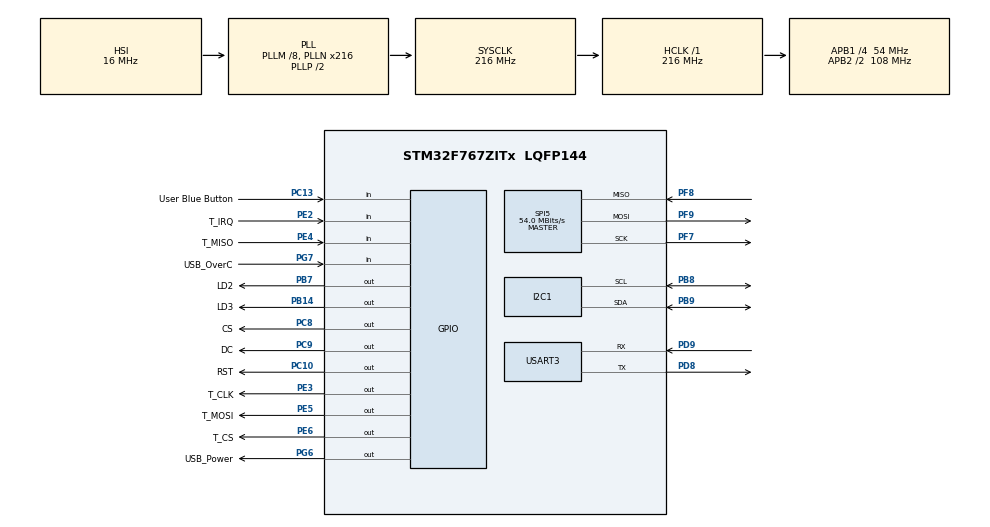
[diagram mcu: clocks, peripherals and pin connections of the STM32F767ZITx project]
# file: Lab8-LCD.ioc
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CORTEX_M7.ART_ACCELERATOR_ENABLE=1
CORTEX_M7.CPU_DCache=Enabled
CORTEX_M7.CPU_ICache=Enabled
CORTEX_M7.MPU_Control=__NULL
CORTEX_M7.PREFETCH_ENABLE=1
CORTEX_M7.default_mode_Activation=1
I2C1.Timing=0x20404768
Mcu.Family=STM32F7
Mcu.Name=STM32F767ZITx
Mcu.Package=LQFP144
NVIC.PriorityGroup=NVIC_PRIORITYGROUP_4
PB14.GPIO_Label=LD3
PB14.Signal=GPIO_Output
PB7.GPIO_Label=LD2
PB7.Signal=GPIO_Output
PB8.GPIO_Pu=GPIO_PULLUP
PB8.Mode=I2C
PB8.Signal=I2C1_SCL
PB9.GPIO_Pu=GPIO_PULLUP
PB9.Mode=I2C
PB9.Signal=I2C1_SDA
PC10.GPIO_Label=RST
PC10.GPIO_Speed=GPIO_SPEED_FREQ_VERY_HIGH
PC10.Signal=GPIO_Output
PC13.GPIO_Label=User Blue Button
PC13.Signal=GPIO_Input
PC8.GPIO_Label=CS
PC8.GPIO_Speed=GPIO_SPEED_FREQ_VERY_HIGH
PC8.Signal=GPIO_Output
PC9.GPIO_Label=DC
PC9.GPIO_Speed=GPIO_SPEED_FREQ_VERY_HIGH
PC9.Signal=GPIO_Output
PD8.Mode=Asynchronous
PD8.Signal=USART3_TX
PD9.Mode=Asynchronous
PD9.Signal=USART3_RX
PE2.GPIO_Label=T_IRQ
PE2.Signal=GPIO_Input
PE3.GPIO_Label=T_CLK
PE3.GPIO_Speed=GPIO_SPEED_FREQ_VERY_HIGH
PE3.Signal=GPIO_Output
PE4.GPIO_Label=T_MISO
PE4.Signal=GPIO_Input
PE5.GPIO_Label=T_MOSI
PE5.GPIO_Speed=GPIO_SPEED_FREQ_VERY_HIGH
PE5.Signal=GPIO_Output
PE6.GPIO_Label=T_CS
PE6.GPIO_Speed=GPIO_SPEED_FREQ_VERY_HIGH
PE6.Signal=GPIO_Output
PF7.Mode=Full_Duplex_Master
PF7.Signal=SPI5_SCK
PF8.Mode=Full_Duplex_Master
PF8.Signal=SPI5_MISO
PF9.Mode=Full_Duplex_Master
PF9.Signal=SPI5_MOSI
PG6.GPIO_Label=USB_Power
PG6.Signal=GPIO_Output
PG7.GPIO_Label=USB_OverC
PG7.Signal=GPIO_Input
PH0/OSC_IN.Mode=HSE-External-Oscillator
PH0/OSC_IN.Signal=RCC_OSC_IN
PH1/OSC_OUT.Mode=HSE-External-Oscillator
PH1/OSC_OUT.Signal=RCC_OSC_OUT
ProjectManager.HeapSize=0x200
ProjectManager.StackSize=0x400
ProjectManager.TargetToolchain=STM32CubeIDE
RCC.AHBFreq_Value=216000000
RCC.APB1CLKDivider=RCC_HCLK_DIV4
RCC.APB1Freq_Value=54000000
RCC.APB1TimFreq_Value=108000000
RCC.APB2CLKDivider=RCC_HCLK_DIV2
RCC.APB2Freq_Value=108000000
RCC.APB2TimFreq_Value=216000000
RCC.CortexFreq_Value=216000000
RCC.HCLKFreq_Value=216000000
RCC.HSE_VALUE=25000000
RCC.HSI_VALUE=16000000
RCC.LSE_VALUE=32768
RCC.PLLM=8
RCC.PLLN=216
RCC.PLLQ=9
RCC.SYSCLKFreq_VALUE=216000000
RCC.SYSCLKSource=RCC_SYSCLKSOURCE_PLLCLK
RCC.USBFreq_Value=48000000
RCC.VCOOutputFreq_Value=432000000
SPI5.BaudRatePrescaler=SPI_BAUDRATEPRESCALER_2
SPI5.CalculateBaudRate=54.0 MBits/s
SPI5.DataSize=SPI_DATASIZE_8BIT
SPI5.Direction=SPI_DIRECTION_2LINES
SPI5.Mode=SPI_MODE_MASTER
SPI5.NSSPMode=SPI_NSS_PULSE_DISABLE
SPI5.VirtualType=VM_MASTER
TIM1.ClockDivision=TIM_CLOCKDIVISION_DIV2
TIM1.Period=0
TIM1.Prescaler=10000
USART3.VirtualMode-Asynchronous=VM_ASYNC
VP_RNG_VS_RNG.Mode=RNG_Activate
VP_TIM1_VS_ClockSourceINT.Mode=Internal
board=custom

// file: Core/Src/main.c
/* USER CODE BEGIN Header */
/**
  ******************************************************************************
  * @file           : main.c
  * @brief          : Main program body
  ******************************************************************************
  * @attention
  *
  * Copyright (c) 2026 STMicroelectronics.
  * All rights reserved.
  *
  * This software is licensed under terms that can be found in the LICENSE file
  * in the root directory of this software component.
  * If no LICENSE file comes with this software, it is provided AS-IS.
  *
  ******************************************************************************
  */
/* USER CODE END Header */
#include "main.h"
#include "i2c.h"
#include "rng.h"
#include "spi.h"
#include "tim.h"
#include "usart.h"
#include "gpio.h"

/* USER CODE BEGIN Includes */
#include "string.h"
#include "stdio.h"
#include "ILI9341_Touchscreen.h"

#include "ILI9341_STM32_Driver.h"
#include "ILI9341_GFX.h"

#include "snow_tiger.h"
#include "stdpic.h"

/* USER CODE END Includes */

/* USER CODE BEGIN PV */
float h=30,t=40.0;
uint8_t step=0;
HAL_StatusTypeDef status;
/* USER CODE END PV */

void SystemClock_Config(void);
/* USER CODE BEGIN PFP */
/* USER CODE BEGIN 4 */
//uint16_t CRC16_2(uint8_t*, uint8_t);
/* USER CODE BEGIN 4 */
uint16_t CRC16_2(uint8_t *ptr, uint8_t length);

/* USER CODE END 4 */

/* USER CODE END PFP */

/* USER CODE BEGIN 0 */
// ประกาศตัวแปร
uint8_t AM2320_ADDR = 0x5C << 1; // 0xB8
uint8_t cmdBuffer[3];
uint8_t cmdBuffer[3] = {0x03, 0x00, 0x04};
char str[50];
uint8_t dataBuffer[8];
char ctemper[10];
char chumid[10];
 // คำสั่งอ่าน, รีจิสเตอร์เริ่มต้น, จำนวนไบต์
uint8_t rxBuffer[8];
float temperature = 0.0;
float humidity = 0.0;
int flag = 0,flag2 = 0;
uint8_t red_bar = 0,green_bar = 0,blue_bar = 0;
int flagDisplay = 1;
uint32_t now;
uint32_t check;
// ฟังก์ชันสำหรับอ่านค่า
uint8_t r=0,g=0,b=0;
uint16_t RGB565_CONVERT(uint8_t R, uint8_t G, uint8_t B)
{
    // การแปลงค่า:
    // 1. ลดทอนค่า 8-bit (0-255) ให้เหลือตามจำนวนบิตของแต่ละสี (5 หรือ 6 bit)
    //    โดยการ shift right (R>>3, G>>2, B>>3)
    // 2. เลื่อนบิตที่แปลงแล้วไปอยู่ในตำแหน่งที่ถูกต้องในข้อมูล 16-bit
    //    (Red อยู่ซ้ายสุด, Green อยู่กลาง, Blue อยู่ขวาสุด)
    // 3. นำค่ามารวมกันด้วย Bitwise OR (|)

    return ((R >> 3) << 11) | ((G >> 2) << 5) | (B >> 3);
}
/* USER CODE END 0 */

int main(void)
{

  /* Enable the CPU Cache */

  /* Enable I-Cache---------------------------------------------------------*/
  SCB_EnableICache();

  /* Enable D-Cache---------------------------------------------------------*/
  SCB_EnableDCache();

  /* MCU Configuration--------------------------------------------------------*/

  /* Reset of all peripherals, Initializes the Flash interface and the Systick. */
  HAL_Init();

  /* Configure the system clock */
  SystemClock_Config();

  /* Initialize all configured peripherals */
  MX_GPIO_Init();
  MX_I2C1_Init();
  MX_USART3_UART_Init();
  MX_RNG_Init();
  MX_SPI5_Init();
  MX_TIM1_Init();
  /* USER CODE BEGIN 2 */
  char charbuf[100];

  char uart_buf[50];
    sprintf(uart_buf, "\r\n--- Starting I2C Scan ---\r\n");
    HAL_UART_Transmit(&huart3, (uint8_t *)uart_buf, strlen(uart_buf), 100);

    // วนลูปเช็ค Address ตั้งแต่ 1 ถึง 127
    for (uint8_t i = 1; i < 128; i++)
    {
        // HAL ต้องการ Address แบบ 8 บิต จึงต้องเอา 7 บิตมา Shift left 1 ตำแหน่ง (i << 1)
        HAL_StatusTypeDef result = HAL_I2C_IsDeviceReady(&hi2c1, (uint16_t)(i << 1), 3, 100);

        if (result == HAL_OK) // ถ้าเซนเซอร์ตอบกลับมา
        {
            sprintf(uart_buf, "Found I2C device at Address: 0x%02X\r\n", i);
            HAL_UART_Transmit(&huart3, (uint8_t *)uart_buf, strlen(uart_buf), 100);
        }
    }

    sprintf(uart_buf, "--- Scan Complete ---\r\n\r\n");
    HAL_UART_Transmit(&huart3, (uint8_t *)uart_buf, strlen(uart_buf), 100);

    cmdBuffer[0] = 0x03;
    cmdBuffer[1] = 0x00;
    cmdBuffer[2] = 0x04;
    void Read_AM2320(void) {
        // 1. ส่งสัญญาณปลุกเซนเซอร์ (ฟังก์ชันนี้อาจรีเทิร์น HAL_ERROR ซึ่งถือว่าปกติในขั้นตอนนี้)
        HAL_I2C_Master_Transmit(&hi2c1, AM2320_ADDR, NULL, 0, 100);
        HAL_Delay(1); // รอเซนเซอร์ตื่น

        // 2. ส่งคำสั่งขออ่านข้อมูล
        if (HAL_I2C_Master_Transmit(&hi2c1, AM2320_ADDR, cmdBuffer, 3, 100) == HAL_OK) {

            HAL_Delay(2); // รอเซนเซอร์ประมวลผลตามสเปค
            flag++;
            // 3. อ่านข้อมูลกลับมา 8 ไบต์
            if (HAL_I2C_Master_Receive(&hi2c1, AM2320_ADDR, rxBuffer, 8, 100) == HAL_OK) {
            	flag2++;
                // ข้อมูลความชื้นอยู่ไบต์ที่ 2 และ 3
                uint16_t raw_humidity = (rxBuffer[2] << 8) | rxBuffer[3];
                humidity = raw_humidity / 10.0f;

                // ข้อมูลอุณหภูมิอยู่ไบต์ที่ 4 และ 5
                uint16_t raw_temp = (rxBuffer[4] << 8) | rxBuffer[5];

                // เช็คบิตเครื่องหมาย (กรณีติดลบ)
                if (raw_temp & 0x8000) {
                    temperature = -(raw_temp & 0x7FFF) / 10.0f;
                } else {
                    temperature = raw_temp / 10.0f;
                }
            }
        }
    }

    ILI9341_Init();
    char rbar[10],gbar[10],bbar[10];
    // ฟังก์ชันวาดรูปภาพแบบกำหนดพิกัดและขนาด
    void ILI9341_Draw_Custom_Image(uint16_t X, uint16_t Y, uint16_t Width, uint16_t Height, const char* Image_Array) {
        // 1. ตรวจสอบไม่ให้ขนาดเกินขอบจอ
        if((X >= 320) || (Y >= 240)) return;
        if((X + Width - 1) >= 320) Width = 320 - X;
        if((Y + Height - 1) >= 240) Height = 240 - Y;

        // 2. ล็อกขอบเขตหน้าต่างบนหน้าจอที่จะพ่นสีลงไป
        ILI9341_Set_Address(X, Y, X + Width - 1, Y + Height - 1);

        // 3. พ่นข้อมูลสีจาก Array เข้าจอผ่าน SPI ทีละไบต์
        uint32_t total_bytes = (uint32_t)Width * Height * 2;
        for(uint32_t i = 0; i < total_bytes; i++) {
            ILI9341_Write_Data((uint8_t)Image_Array[i]);
        }
    }
    void clear_display(){
        	ILI9341_Fill_Screen(WHITE);
        }
    void display1(){
    					int Width = 121;
    					Read_AM2320();
    	    			sprintf(ctemper,"%.1f C",temperature);
    	    			sprintf(chumid,"%.1f %%RH",humidity);
    	    			ILI9341_Set_Rotation(SCREEN_HORIZONTAL_2);
    	    			ILI9341_Draw_Text(ctemper, 20, 20, BLACK, 2, WHITE);
    	    			ILI9341_Draw_Text(chumid, 170, 20, BLACK, 2, WHITE);

    	    			ILI9341_Draw_Filled_Circle(130, 30, 25, RGB565_CONVERT(r*25,g*25,b*25));

    	    			ILI9341_Draw_Filled_Circle(30, 81, 20, RED);
    	    			ILI9341_Draw_Filled_Circle(30, 141, 20, GREEN);
    	    			ILI9341_Draw_Filled_Circle(30, 201, 20, BLUE);

    	    			ILI9341_Draw_Rectangle(60, 60, Width, 35, RGB565_CONVERT(255, 200, 200));
    	    			ILI9341_Draw_Rectangle(60, 120, Width, 35, RGB565_CONVERT(200, 255, 200));
    	    			ILI9341_Draw_Rectangle(60, 180, Width, 35, RGB565_CONVERT(200, 200, 255));

    	    			ILI9341_Draw_Rectangle(60, 60, (r%11)*12, 35, RED);
    	    			ILI9341_Draw_Rectangle(60, 120, (g%11)*12, 35, GREEN);
    	    			ILI9341_Draw_Rectangle(60, 180, (b%11)*12, 35, BLUE);

    	    			sprintf(rbar,"%d%%",(r%11)*10);
    	    			ILI9341_Draw_Text(rbar, 190, 70, BLACK, 3, WHITE);

    	    			sprintf(gbar,"%d%%",(g%11)*10);
    	    			ILI9341_Draw_Text(gbar, 190, 130, BLACK, 3, WHITE);

    	    			sprintf(bbar,"%d%%",(b%11)*10);
    	    			ILI9341_Draw_Text(bbar, 190, 190, BLACK, 3, WHITE);

    	    			if(TP_Touchpad_Pressed())
    	    			        {
    	    			            uint16_t pos[2];

    	    			            // 2. อ่านพิกัดที่กด
    	    			            if(TP_Read_Coordinates(pos) == TOUCHPAD_DATA_OK)
    	    			            {
    	    			                uint16_t x = pos[0];
    	    			                uint16_t y = 319-pos[1];
    	//    			                char coor[10];
    	//    			                sprintf(coor,"x = %d,y=%d",x,y);
    	//    			                ILI9341_Draw_Text(coor,y, x, BLACK,1,WHITE);
    	    			                // เอา X, Y ไปใช้แสดงหรือวาดของได้
    	    			                // เช่น วาดจุดตามนิ้ว
    	    			                if(y>10 && y< 50&& x>61 && x<101){
    	    			                	r++;
    	    			                	r%=11;
    	    			                	if(r==0)ILI9341_Fill_Screen(WHITE);

    	    			                }
    	    			                else if(y>10 && y< 50&& x>121 && x<161){
    	    			                	g++;
    										g%=11;
    										if(g==0)ILI9341_Fill_Screen(WHITE);
    	    			                    			                }
    	    			                else if(y>10 && y< 50&& x>181 && x<221){
    										b++;
    										b%=11;
    										if(b==0)ILI9341_Fill_Screen(WHITE);
    	    			                    			                }
    	    			                else if(y>105 && y< 155&& x>5 && x<55){
    	    			                	flagDisplay  = 0;
    	    			                	clear_display();
    	    			                	now = HAL_GetTick();

    	    			                }

    	    			            }
    	    			        }
    }

    void display2(){
    	ILI9341_Set_Rotation(SCREEN_HORIZONTAL_2);
    	ILI9341_Draw_Text("Group No.16", 130, 20, RGB565_CONVERT(r*25,g*25,b*25), 2, WHITE);
    	ILI9341_Draw_Text("Tawan", 130, 40, RGB565_CONVERT(r*25,g*25,b*25), 2, WHITE);
    	ILI9341_Draw_Text("Khuntha", 130, 60, RGB565_CONVERT(r*25,g*25,b*25), 2, WHITE);
    	ILI9341_Draw_Text("67010338", 130, 80, RGB565_CONVERT(r*25,g*25,b*25), 2, WHITE);

//		ILI9341_Draw_Image((const char*)stdpic, SCREEN_HORIZONTAL_2);
		ILI9341_Draw_Custom_Image(0, 20, 120, 160, (const char*)stdpic);
		if(TP_Touchpad_Pressed())
								{
									uint16_t pos[2];

									// 2. อ่านพิกัดที่กด
									if(TP_Read_Coordinates(pos) == TOUCHPAD_DATA_OK)
									{
										uint16_t x = pos[0];
										uint16_t y = 319-pos[1];
		//    			                char coor[10];
		//    			                sprintf(coor,"x = %d,y=%d",x,y);
		//    			                ILI9341_Draw_Text(coor,y, x, BLACK,1,WHITE);
										// เอา X, Y ไปใช้แสดงหรือวาดของได้
										// เช่น วาดจุดตามนิ้ว
										if(y>10 && y< 130&& x>0 && x<160){
											flagDisplay  = 1;
											clear_display();

										}

									}
								}
    }

  /* USER CODE END 2 */

  /* Infinite loop */
  /* USER CODE BEGIN WHILE */
	ILI9341_Fill_Screen(WHITE);
    while (1)
      {
    	/* USER CODE END WHILE */

    	  /* USER CODE BEGIN 3 */
    	if(flagDisplay == 0 && HAL_GetTick()-now >=5000){
    		flagDisplay = 1;
        	clear_display();

    	}
    	if(flagDisplay==1){
    	display1();
    	}
    	else if(flagDisplay ==0){
    	display2();
    	}

      }
    	  /* USER CODE END 3 */

}

void SystemClock_Config(void)
{
  RCC_OscInitTypeDef RCC_OscInitStruct = {0};
  RCC_ClkInitTypeDef RCC_ClkInitStruct = {0};

  /** Configure the main internal regulator output voltage
  */
  __HAL_RCC_PWR_CLK_ENABLE();
  __HAL_PWR_VOLTAGESCALING_CONFIG(PWR_REGULATOR_VOLTAGE_SCALE1);

  /** Initializes the RCC Oscillators according to the specified parameters
  * in the RCC_OscInitTypeDef structure.
  */
  RCC_OscInitStruct.OscillatorType = RCC_OSCILLATORTYPE_HSI;
  RCC_OscInitStruct.HSIState = RCC_HSI_ON;
  RCC_OscInitStruct.HSICalibrationValue = RCC_HSICALIBRATION_DEFAULT;
  RCC_OscInitStruct.PLL.PLLState = RCC_PLL_ON;
  RCC_OscInitStruct.PLL.PLLSource = RCC_PLLSOURCE_HSI;
  RCC_OscInitStruct.PLL.PLLM = 8;
  RCC_OscInitStruct.PLL.PLLN = 216;
  RCC_OscInitStruct.PLL.PLLP = RCC_PLLP_DIV2;
  RCC_OscInitStruct.PLL.PLLQ = 9;
  RCC_OscInitStruct.PLL.PLLR = 2;
  if (HAL_RCC_OscConfig(&RCC_OscInitStruct) != HAL_OK)
  {
    Error_Handler();
  }

  /** Activate the Over-Drive mode
  */
  if (HAL_PWREx_EnableOverDrive() != HAL_OK)
  {
    Error_Handler();
  }

  /** Initializes the CPU, AHB and APB buses clocks
  */
  RCC_ClkInitStruct.ClockType = RCC_CLOCKTYPE_HCLK|RCC_CLOCKTYPE_SYSCLK
                              |RCC_CLOCKTYPE_PCLK1|RCC_CLOCKTYPE_PCLK2;
  RCC_ClkInitStruct.SYSCLKSource = RCC_SYSCLKSOURCE_PLLCLK;
  RCC_ClkInitStruct.AHBCLKDivider = RCC_SYSCLK_DIV1;
  RCC_ClkInitStruct.APB1CLKDivider = RCC_HCLK_DIV4;
  RCC_ClkInitStruct.APB2CLKDivider = RCC_HCLK_DIV2;

  if (HAL_RCC_ClockConfig(&RCC_ClkInitStruct, FLASH_LATENCY_7) != HAL_OK)
  {
    Error_Handler();
  }
}

/* USER CODE BEGIN 4 */
//uint16_t CRC16_2(uint8_t*, uint8_t);
/* USER CODE BEGIN 4 */
uint16_t CRC16_2(uint8_t *ptr, uint8_t length)
{
    uint16_t crc = 0xFFFF;
    uint8_t  s   = 0x00;

    while(length--) {
        crc ^= *ptr++;
        for(s = 0; s < 8; s++) {
            if((crc & 0x01) != 0) {
                crc >>= 1;
                crc ^= 0xA001;
            } else crc >>= 1;
        }
    }
    return crc;
}
/* USER CODE END 4 */

void Error_Handler(void)
{
  __disable_irq();
  while (1)
  {
  }
}
